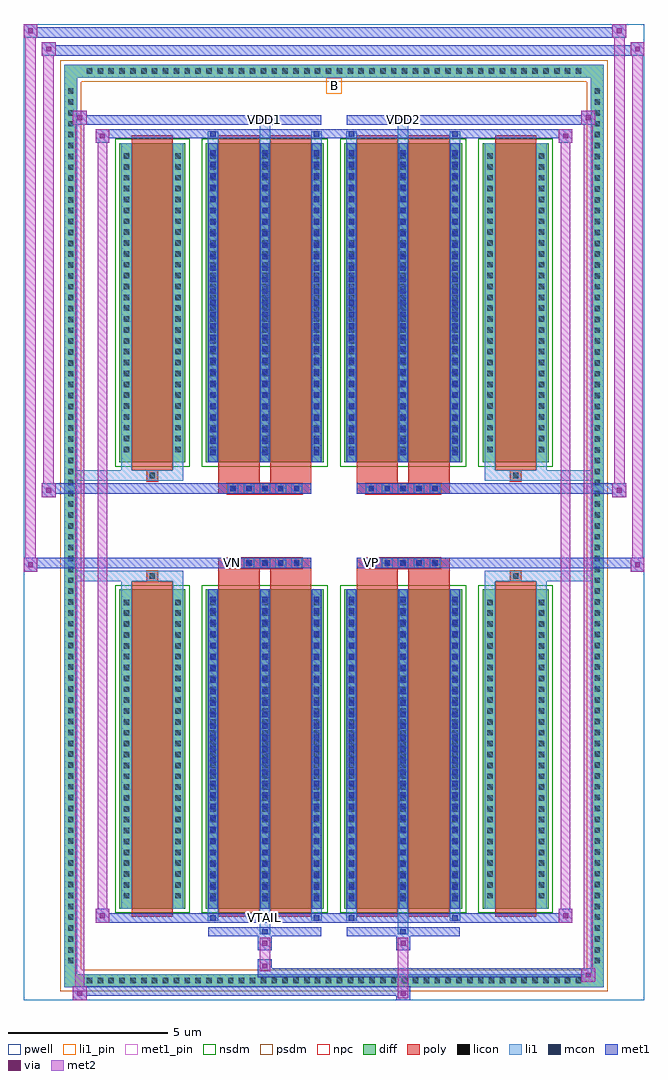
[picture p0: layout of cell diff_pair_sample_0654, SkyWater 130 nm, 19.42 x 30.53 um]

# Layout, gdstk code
import gdstk
lib = gdstk.Library(unit=1e-6, precision=5e-09)
def R(c, l, rs):  # rectangles x0, y0, x1, y1
    for r in rs: c.add(gdstk.rectangle(r[:2], r[2:], *l))
def A(c, l, x, y, w, h, nx, ny, dx, dy):  # array of equal rectangles
    R(c, l, [(x+i*dx, y+j*dy, x+i*dx+w, y+j*dy+h) for i in range(nx) for j in range(ny)])
def P(c, l, *ps):  # polygons
    for p in ps: c.add(gdstk.Polygon(p, *l))
pwell = (64, 44)
diff = (65, 20)
poly = (66, 20)
licon = (66, 44)
li1_pin = (67, 16)
li1 = (67, 20)
mcon = (67, 44)
met1_pin = (68, 16)
met1 = (68, 20)
via = (68, 44)
met2 = (69, 20)
nsdm = (93, 44)
psdm = (94, 20)
npc = (95, 20)

diff_pair_sample_0654 = lib.new_cell('diff_pair_sample_0654')
R(diff_pair_sample_0654, pwell, [(-9.71,-14.83,9.71,15.7), (-7.03,-13.02,-0.01,-0.8), (0.01,-13.02,7.03,-0.8), (-7.03,0.8,-0.01,13.02), (0.01,0.8,7.03,13.02)])
A(diff_pair_sample_0654, diff, -7.855, -14.43, 0.41, 0.41, 46, 2, 0.34, 28.45)
A(diff_pair_sample_0654, diff, -8.44, -13.805, 0.41, 0.41, 1, 81, 0, 0.34)
A(diff_pair_sample_0654, diff, 8.03, -13.805, 0.41, 0.41, 1, 81, 0, 0.34)
R(diff_pair_sample_0654, diff, [(-7.855,-14.43,7.855,-14.02), (-8.44,-13.805,-8.03,13.805), (8.03,-13.805,8.44,13.805), (-6.72,-11.975,-4.65,-1.985), (-4.01,-11.975,-0.32,-1.985), (0.32,-11.975,4.01,-1.985), (4.65,-11.975,6.72,-1.985), (-6.72,1.985,-4.65,11.975), (-4.01,1.985,-0.32,11.975), (0.32,1.985,4.01,11.975), (4.65,1.985,6.72,11.975), (-7.855,14.02,7.855,14.43)])
P(diff_pair_sample_0654, diff, [(8.44,14.43),(-8.44,14.43),(-8.44,-14.02),(-8.03,-14.02),(-8.03,14.02),(8.03,14.02),(8.03,-14.02),(-8.03,-14.02),(-8.44,-14.02),(-8.44,-14.43),(8.44,-14.43)])
A(diff_pair_sample_0654, poly, -3.33, -1.33, 0.33, 0.33, 5, 2, 0.5, 2.33)
A(diff_pair_sample_0654, poly, 1, -1.33, 0.33, 0.33, 5, 2, 0.5, 2.33)
R(diff_pair_sample_0654, poly, [(-6.33,-12.225,-5.04,-1.735), (-3.62,-12.225,-2.33,-1.735), (-2,-12.225,-0.71,-1.735), (0.71,-12.225,2,-1.735), (2.33,-12.225,3.62,-1.735), (5.04,-12.225,6.33,-1.735), (-5.85,-1.735,-5.52,-1.405), (-5.85,-1.735,-5.52,-1.405), (-3.62,-1.735,-2.33,-1.33), (-2,-1.735,-0.71,-1.33), (0.71,-1.735,2,-1.33), (2.33,-1.735,3.62,-1.33), (5.52,-1.735,5.85,-1.405), (5.52,-1.735,5.85,-1.405), (-3.62,-1.33,-0.71,-1), (0.71,-1.33,3.62,-1), (-3.62,1,-0.71,1.33), (0.71,1,3.62,1.33), (-3.62,1.33,-2.33,1.735), (-2,1.33,-0.71,1.735), (0.71,1.33,2,1.735), (2.33,1.33,3.62,1.735), (-5.85,1.405,-5.52,1.735), (-5.85,1.405,-5.52,1.735), (5.52,1.405,5.85,1.735), (5.52,1.405,5.85,1.735), (-6.33,1.735,-5.04,12.225), (-3.62,1.735,-2.33,12.225), (-2,1.735,-0.71,12.225), (0.71,1.735,2,12.225), (2.33,1.735,3.62,12.225), (5.04,1.735,6.33,12.225)])
A(diff_pair_sample_0654, licon, -7.735, -14.31, 0.17, 0.17, 46, 2, 0.34, 28.45)
A(diff_pair_sample_0654, licon, -8.32, -13.685, 0.17, 0.17, 1, 81, 0, 0.34)
A(diff_pair_sample_0654, licon, 8.15, -13.685, 0.17, 0.17, 1, 81, 0, 0.34)
A(diff_pair_sample_0654, licon, -6.58, -11.655, 0.17, 0.17, 1, 28, 0, 0.34)
A(diff_pair_sample_0654, licon, -4.96, -11.655, 0.17, 0.17, 1, 28, 0, 0.34)
A(diff_pair_sample_0654, licon, -3.87, -11.655, 0.17, 0.17, 3, 28, 1.62, 0.34)
A(diff_pair_sample_0654, licon, 0.46, -11.655, 0.17, 0.17, 3, 28, 1.62, 0.34)
A(diff_pair_sample_0654, licon, 4.79, -11.655, 0.17, 0.17, 1, 28, 0, 0.34)
A(diff_pair_sample_0654, licon, 6.41, -11.655, 0.17, 0.17, 1, 28, 0, 0.34)
A(diff_pair_sample_0654, licon, -3.25, -1.25, 0.17, 0.17, 5, 2, 0.5, 2.33)
A(diff_pair_sample_0654, licon, 1.08, -1.25, 0.17, 0.17, 5, 2, 0.5, 2.33)
A(diff_pair_sample_0654, licon, -6.58, 2.305, 0.17, 0.17, 1, 28, 0, 0.34)
A(diff_pair_sample_0654, licon, -4.96, 2.305, 0.17, 0.17, 1, 28, 0, 0.34)
A(diff_pair_sample_0654, licon, -3.87, 2.305, 0.17, 0.17, 3, 28, 1.62, 0.34)
A(diff_pair_sample_0654, licon, 0.46, 2.305, 0.17, 0.17, 3, 28, 1.62, 0.34)
A(diff_pair_sample_0654, licon, 4.79, 2.305, 0.17, 0.17, 1, 28, 0, 0.34)
A(diff_pair_sample_0654, licon, 6.41, 2.305, 0.17, 0.17, 1, 28, 0, 0.34)
R(diff_pair_sample_0654, licon, [(-5.77,-1.655,-5.6,-1.485), (5.6,-1.655,5.77,-1.485), (-5.77,1.485,-5.6,1.655), (5.6,1.485,5.77,1.655)])
R(diff_pair_sample_0654, li1_pin, [(-0.25,13.52,0.25,14.02)])
A(diff_pair_sample_0654, li1, -7.815, -14.39, 0.33, 0.33, 46, 2, 0.34, 28.45)
A(diff_pair_sample_0654, li1, -8.4, -13.765, 0.33, 0.33, 1, 81, 0, 0.34)
A(diff_pair_sample_0654, li1, 8.07, -13.765, 0.33, 0.33, 1, 81, 0, 0.34)
A(diff_pair_sample_0654, li1, -3.95, -11.975, 0.33, 9.99, 3, 2, 1.62, 13.96)
A(diff_pair_sample_0654, li1, 0.38, -11.975, 0.33, 9.99, 3, 2, 1.62, 13.96)
A(diff_pair_sample_0654, li1, -3.87, -11.745, 0.17, 0.17, 3, 27, 1.62, 0.36)
A(diff_pair_sample_0654, li1, -3.87, -11.745, 0.17, 9.53, 3, 2, 1.62, 13.96)
A(diff_pair_sample_0654, li1, 0.46, -11.745, 0.17, 0.17, 3, 27, 1.62, 0.36)
A(diff_pair_sample_0654, li1, 0.46, -11.745, 0.17, 9.53, 3, 2, 1.62, 13.96)
A(diff_pair_sample_0654, li1, -6.66, -11.735, 0.33, 0.33, 1, 28, 0, 0.34)
A(diff_pair_sample_0654, li1, -5.04, -11.735, 0.33, 0.33, 1, 28, 0, 0.34)
A(diff_pair_sample_0654, li1, -3.95, -11.735, 0.33, 0.33, 3, 28, 1.62, 0.34)
A(diff_pair_sample_0654, li1, 0.38, -11.735, 0.33, 0.33, 3, 28, 1.62, 0.34)
A(diff_pair_sample_0654, li1, 4.71, -11.735, 0.33, 0.33, 1, 28, 0, 0.34)
A(diff_pair_sample_0654, li1, 6.33, -11.735, 0.33, 0.33, 1, 28, 0, 0.34)
A(diff_pair_sample_0654, li1, -3.33, -1.33, 0.33, 0.33, 5, 2, 0.5, 2.33)
A(diff_pair_sample_0654, li1, 1, -1.33, 0.33, 0.33, 5, 2, 0.5, 2.33)
A(diff_pair_sample_0654, li1, -3.87, 2.215, 0.17, 0.17, 3, 27, 1.62, 0.36)
A(diff_pair_sample_0654, li1, 0.46, 2.215, 0.17, 0.17, 3, 27, 1.62, 0.36)
A(diff_pair_sample_0654, li1, -6.66, 2.225, 0.33, 0.33, 1, 28, 0, 0.34)
A(diff_pair_sample_0654, li1, -5.04, 2.225, 0.33, 0.33, 1, 28, 0, 0.34)
A(diff_pair_sample_0654, li1, -3.95, 2.225, 0.33, 0.33, 3, 28, 1.62, 0.34)
A(diff_pair_sample_0654, li1, 0.38, 2.225, 0.33, 0.33, 3, 28, 1.62, 0.34)
A(diff_pair_sample_0654, li1, 4.71, 2.225, 0.33, 0.33, 1, 28, 0, 0.34)
A(diff_pair_sample_0654, li1, 6.33, 2.225, 0.33, 0.33, 1, 28, 0, 0.34)
R(diff_pair_sample_0654, li1, [(-8.44,-14.43,-8.03,-14.02), (-8.44,-14.43,-8.03,-14.02), (-8.03,-14.43,8.03,-14.02), (8.03,-14.43,8.44,-14.02), (8.03,-14.43,8.44,-14.02), (-8.44,-14.02,-8.03,14.02), (8.03,-14.02,8.44,14.02), (-2.33,-12.78,-2,-11.975), (-2.25,-12.78,-2.08,-12.61), (2,-12.78,2.33,-11.975), (2.08,-12.78,2.25,-12.61), (-3.95,-12.35,-3.62,-11.975), (-3.87,-12.35,-3.7,-12.18), (-0.71,-12.35,-0.38,-11.975), (-0.63,-12.35,-0.46,-12.18), (0.38,-12.35,0.71,-11.975), (0.46,-12.35,0.63,-12.18), (3.62,-12.35,3.95,-11.975), (3.7,-12.35,3.87,-12.18), (-6.66,-11.975,-6.33,-1.985), (-5.04,-11.975,-4.71,-1.985), (4.71,-11.975,5.04,-1.985), (6.33,-11.975,6.66,-1.985), (-6.66,-1.985,-6.33,-1.405), (-5.04,-1.985,-4.71,-1.405), (4.71,-1.985,5.04,-1.405), (6.33,-1.985,6.66,-1.405), (-8.44,-1.735,-5.85,-1.405), (-6.66,-1.735,-5.85,-1.405), (-5.85,-1.735,-5.52,-1.405), (-5.52,-1.735,-4.71,-1.405), (4.71,-1.735,5.52,-1.405), (5.52,-1.735,5.85,-1.405), (5.52,-1.735,8.44,-1.405), (5.85,-1.735,6.66,-1.405), (-8.44,1.405,-5.85,1.735), (-6.66,1.405,-5.85,1.735), (-6.66,1.405,-6.33,1.985), (-5.85,1.405,-5.52,1.735), (-5.52,1.405,-4.71,1.735), (-5.04,1.405,-4.71,1.985), (4.71,1.405,5.52,1.735), (4.71,1.405,5.04,1.985), (5.52,1.405,5.85,1.735), (5.52,1.405,8.44,1.735), (5.85,1.405,6.66,1.735), (6.33,1.405,6.66,1.985), (-6.66,1.985,-6.33,11.975), (-5.04,1.985,-4.71,11.975), (4.71,1.985,5.04,11.975), (6.33,1.985,6.66,11.975), (-3.95,11.975,-3.62,12.35), (-2.33,11.975,-2,12.78), (-0.71,11.975,-0.38,12.35), (0.38,11.975,0.71,12.35), (2,11.975,2.33,12.78), (3.62,11.975,3.95,12.35), (-3.87,12.18,-3.7,12.35), (-0.63,12.18,-0.46,12.35), (0.46,12.18,0.63,12.35), (3.7,12.18,3.87,12.35), (-2.25,12.61,-2.08,12.78), (2.08,12.61,2.25,12.78), (-8.44,14.02,-8.03,14.43), (-8.44,14.02,-8.03,14.43), (-8.03,14.02,8.03,14.43), (8.03,14.02,8.44,14.43), (8.03,14.02,8.44,14.43)])
A(diff_pair_sample_0654, mcon, -3.87, -11.745, 0.17, 0.17, 3, 27, 1.62, 0.36)
A(diff_pair_sample_0654, mcon, 0.46, -11.745, 0.17, 0.17, 3, 27, 1.62, 0.36)
A(diff_pair_sample_0654, mcon, -3.25, -1.25, 0.17, 0.17, 5, 2, 0.5, 2.33)
A(diff_pair_sample_0654, mcon, 1.08, -1.25, 0.17, 0.17, 5, 2, 0.5, 2.33)
A(diff_pair_sample_0654, mcon, -3.87, 2.215, 0.17, 0.17, 3, 27, 1.62, 0.36)
A(diff_pair_sample_0654, mcon, 0.46, 2.215, 0.17, 0.17, 3, 27, 1.62, 0.36)
R(diff_pair_sample_0654, mcon, [(-2.25,-12.78,-2.08,-12.61), (2.08,-12.78,2.25,-12.61), (-3.87,-12.35,-3.7,-12.18), (-0.63,-12.35,-0.46,-12.18), (0.46,-12.35,0.63,-12.18), (3.7,-12.35,3.87,-12.18), (-3.87,12.18,-3.7,12.35), (-0.63,12.18,-0.46,12.35), (0.46,12.18,0.63,12.35), (3.7,12.18,3.87,12.35), (-2.25,12.61,-2.08,12.78), (2.08,12.61,2.25,12.78)])
R(diff_pair_sample_0654, met1_pin, [(-2.3,-12.39,-2.03,-12.12), (-3.3,-1.29,-3.03,-1.02), (1.03,-1.29,1.3,-1.02), (-2.3,12.57,-2.03,12.84), (2.03,12.57,2.3,12.84)])
A(diff_pair_sample_0654, met1, -3.93, -11.975, 0.29, 9.99, 3, 2, 1.62, 13.96)
A(diff_pair_sample_0654, met1, 0.4, -11.975, 0.29, 9.99, 3, 2, 1.62, 13.96)
A(diff_pair_sample_0654, met1, -3.93, -11.805, 0.29, 0.29, 3, 27, 1.62, 0.36)
A(diff_pair_sample_0654, met1, 0.4, -11.805, 0.29, 0.29, 3, 27, 1.62, 0.36)
A(diff_pair_sample_0654, met1, -3.31, -1.31, 0.29, 0.29, 5, 2, 0.5, 2.33)
A(diff_pair_sample_0654, met1, 1.02, -1.31, 0.29, 0.29, 5, 2, 0.5, 2.33)
A(diff_pair_sample_0654, met1, -3.93, 2.155, 0.29, 0.29, 3, 27, 1.62, 0.36)
A(diff_pair_sample_0654, met1, 0.4, 2.155, 0.29, 0.29, 3, 27, 1.62, 0.36)
R(diff_pair_sample_0654, met1, [(-8.17,-14.83,-7.74,-14.4), (1.95,-14.83,2.38,-14.4), (-8.17,-14.69,2.38,-14.4), (7.74,-14.26,8.17,-13.83), (-2.38,-14.12,8.17,-13.83), (-2.38,-13.98,-1.95,-13.55), (-2.38,-13.27,-1.95,-12.84), (1.95,-13.27,2.38,-12.84), (-3.93,-12.84,-0.4,-12.55), (-2.31,-12.84,-2.02,-12.55), (0.4,-12.84,3.93,-12.55), (2.02,-12.84,2.31,-12.55), (-7.46,-12.41,-3.93,-12.12), (-7.46,-12.41,-7.03,-11.98), (-3.93,-12.41,-3.64,-12.12), (-3.93,-12.41,-0.4,-12.12), (-0.69,-12.41,-0.4,-12.12), (-0.4,-12.41,0.4,-12.12), (0.4,-12.41,0.69,-12.12), (0.4,-12.41,3.93,-12.12), (3.64,-12.41,3.93,-12.12), (3.93,-12.41,7.46,-12.12), (7.03,-12.41,7.46,-11.98), (-9.71,-1.43,-9.28,-1), (9.28,-1.43,9.71,-1), (-9.71,-1.33,-0.71,-1), (-3.62,-1.33,-0.71,-1), (0.71,-1.33,3.62,-1), (0.71,-1.33,9.71,-1), (-9.14,0.9,-8.71,1.33), (8.71,0.9,9.14,1.33), (-9.14,1,-3.62,1.33), (-3.62,1,-0.71,1.33), (0.71,1,3.62,1.33), (3.62,1,9.14,1.33), (-7.46,11.98,-7.03,12.41), (7.03,11.98,7.46,12.41), (-7.46,12.12,-3.93,12.41), (-3.93,12.12,-3.64,12.41), (-3.93,12.12,-0.4,12.41), (-0.69,12.12,-0.4,12.41), (-0.4,12.12,0.4,12.41), (0.4,12.12,0.69,12.41), (0.4,12.12,3.93,12.41), (3.64,12.12,3.93,12.41), (3.93,12.12,7.46,12.41), (-8.17,12.55,-7.74,12.98), (-8.17,12.55,-3.93,12.84), (-3.93,12.55,-0.4,12.84), (-2.31,12.55,-2.02,12.84), (0.4,12.55,3.93,12.84), (2.02,12.55,2.31,12.84), (3.93,12.55,8.17,12.84), (7.74,12.55,8.17,12.98), (-9.14,14.7,-8.71,15.13), (-9.14,14.7,-7.03,15.03), (-7.03,14.7,7.03,15.03), (7.03,14.7,9.71,15.03), (9.28,14.7,9.71,15.13), (-9.71,15.27,-9.28,15.7), (-9.71,15.27,-7.03,15.6), (-7.03,15.27,7.03,15.6), (7.03,15.27,9.14,15.6), (8.71,15.27,9.14,15.7)])
R(diff_pair_sample_0654, via, [(-8.03,-14.69,-7.88,-14.54), (2.09,-14.69,2.24,-14.54), (7.88,-14.12,8.03,-13.97), (-2.24,-13.84,-2.09,-13.69), (-2.24,-13.13,-2.09,-12.98), (2.09,-13.13,2.24,-12.98), (-7.32,-12.27,-7.17,-12.12), (7.17,-12.27,7.32,-12.12), (-9.57,-1.29,-9.42,-1.14), (9.42,-1.29,9.57,-1.14), (-9,1.04,-8.85,1.19), (8.85,1.04,9,1.19), (-7.32,12.12,-7.17,12.27), (7.17,12.12,7.32,12.27), (-8.03,12.69,-7.88,12.84), (7.88,12.69,8.03,12.84), (-9,14.84,-8.85,14.99), (9.42,14.84,9.57,14.99), (-9.57,15.41,-9.42,15.56), (8.85,15.41,9,15.56)])
R(diff_pair_sample_0654, met2, [(-8.17,-14.83,-7.74,-14.4), (-8.1,-14.83,-7.81,12.98), (-7.81,-14.83,-7.74,-14.4), (-8.12,-14.78,-7.79,-14.45), (2,-14.78,2.33,-14.45), (2,-14.45,2.33,-13.22), (7.74,-14.26,8.17,-13.83), (7.81,-14.26,8.1,12.98), (8.1,-14.26,8.17,-13.83), (7.79,-14.21,8.12,-13.88), (-2.33,-13.93,-2,-13.6), (-2.33,-13.6,-2,-13.22), (-2.33,-13.22,-2,-12.89), (2,-13.22,2.33,-12.89), (-7.46,-12.41,-7.03,-11.98), (-7.39,-12.41,-7.1,12.41), (-7.1,-12.41,-7.03,-11.98), (7.03,-12.41,7.46,-11.98), (7.1,-12.41,7.39,12.41), (7.39,-12.41,7.46,-11.98), (-7.41,-12.36,-7.08,-12.03), (7.08,-12.36,7.41,-12.03), (-9.71,-1.43,-9.28,-1), (-9.66,-1.43,-9.33,15.7), (-9.33,-1.43,-9.28,-1), (9.28,-1.43,9.71,-1), (9.33,-1.43,9.66,15.13), (9.66,-1.43,9.71,-1), (-9.66,-1.38,-9.33,-1.05), (9.33,-1.38,9.66,-1.05), (-9.14,0.9,-8.71,1.33), (-9.09,0.9,-8.76,15.13), (-8.76,0.9,-8.71,1.33), (8.71,0.9,9.14,1.33), (8.76,0.9,9.09,15.7), (9.09,0.9,9.14,1.33), (-9.09,0.95,-8.76,1.28), (8.76,0.95,9.09,1.28), (-7.46,11.98,-7.03,12.41), (-7.1,11.98,-7.03,12.41), (7.03,11.98,7.46,12.41), (7.39,11.98,7.46,12.41), (-7.41,12.03,-7.08,12.36), (7.08,12.03,7.41,12.36), (-8.17,12.55,-7.74,12.98), (-7.81,12.55,-7.74,12.98), (7.74,12.55,8.17,12.98), (8.1,12.55,8.17,12.98), (-8.12,12.6,-7.79,12.93), (7.79,12.6,8.12,12.93), (-9.14,14.7,-8.71,15.13), (-8.76,14.7,-8.71,15.13), (9.28,14.7,9.71,15.13), (9.66,14.7,9.71,15.13), (-9.09,14.75,-8.76,15.08), (9.33,14.75,9.66,15.08), (-9.71,15.27,-9.28,15.7), (-9.33,15.27,-9.28,15.7), (8.71,15.27,9.14,15.7), (9.09,15.27,9.14,15.7), (-9.66,15.32,-9.33,15.65), (8.76,15.32,9.09,15.65)])
R(diff_pair_sample_0654, nsdm, [(-6.85,-12.105,-4.52,-1.855), (-4.14,-12.105,-0.19,-1.855), (0.19,-12.105,4.14,-1.855), (4.52,-12.105,6.85,-1.855), (-6.85,1.855,-4.52,12.105), (-4.14,1.855,-0.19,12.105), (0.19,1.855,4.14,12.105), (4.52,1.855,6.85,12.105)])
P(diff_pair_sample_0654, psdm, [(8.57,14.56),(-8.57,14.56),(-8.57,-13.89),(-7.9,-13.89),(-7.9,13.89),(7.9,13.89),(7.9,-13.89),(-7.9,-13.89),(-8.57,-13.89),(-8.57,-14.56),(8.57,-14.56)])
A(diff_pair_sample_0654, npc, -3.35, -1.35, 0.37, 0.37, 5, 2, 0.5, 2.33)
A(diff_pair_sample_0654, npc, 0.98, -1.35, 0.37, 0.37, 5, 2, 0.5, 2.33)
R(diff_pair_sample_0654, npc, [(-5.87,-1.755,-5.5,-1.385), (5.5,-1.755,5.87,-1.385), (-3.35,-1.35,-2.48,-0.98), (-3.35,-1.35,-2.48,-0.98), (-2.85,-1.35,-1.98,-0.98), (-2.85,-1.35,-1.98,-0.98), (-2.35,-1.35,-1.48,-0.98), (-2.35,-1.35,-1.48,-0.98), (-1.85,-1.35,-0.98,-0.98), (-1.85,-1.35,-0.98,-0.98), (0.98,-1.35,1.85,-0.98), (0.98,-1.35,1.85,-0.98), (1.48,-1.35,2.35,-0.98), (1.48,-1.35,2.35,-0.98), (1.98,-1.35,2.85,-0.98), (1.98,-1.35,2.85,-0.98), (2.48,-1.35,3.35,-0.98), (2.48,-1.35,3.35,-0.98), (-3.35,0.98,-2.48,1.35), (-3.35,0.98,-2.48,1.35), (-2.85,0.98,-1.98,1.35), (-2.85,0.98,-1.98,1.35), (-2.35,0.98,-1.48,1.35), (-2.35,0.98,-1.48,1.35), (-1.85,0.98,-0.98,1.35), (-1.85,0.98,-0.98,1.35), (0.98,0.98,1.85,1.35), (0.98,0.98,1.85,1.35), (1.48,0.98,2.35,1.35), (1.48,0.98,2.35,1.35), (1.98,0.98,2.85,1.35), (1.98,0.98,2.85,1.35), (2.48,0.98,3.35,1.35), (2.48,0.98,3.35,1.35), (-5.87,1.385,-5.5,1.755), (5.5,1.385,5.87,1.755)])
diff_pair_sample_0654.add(gdstk.Label('VTAIL', (-2.165,-12.255), layer=68, texttype=5))
diff_pair_sample_0654.add(gdstk.Label('VN', (-3.165,-1.155), layer=68, texttype=5))
diff_pair_sample_0654.add(gdstk.Label('VP', (1.165,-1.155), layer=68, texttype=5))
diff_pair_sample_0654.add(gdstk.Label('B', (0,13.77), layer=67, texttype=5))
diff_pair_sample_0654.add(gdstk.Label('VDD2', (2.165,12.705), layer=68, texttype=5))
diff_pair_sample_0654.add(gdstk.Label('VDD1', (-2.165,12.705), layer=68, texttype=5))

lib.write_gds('diff_pair_sample_0654.gds')
